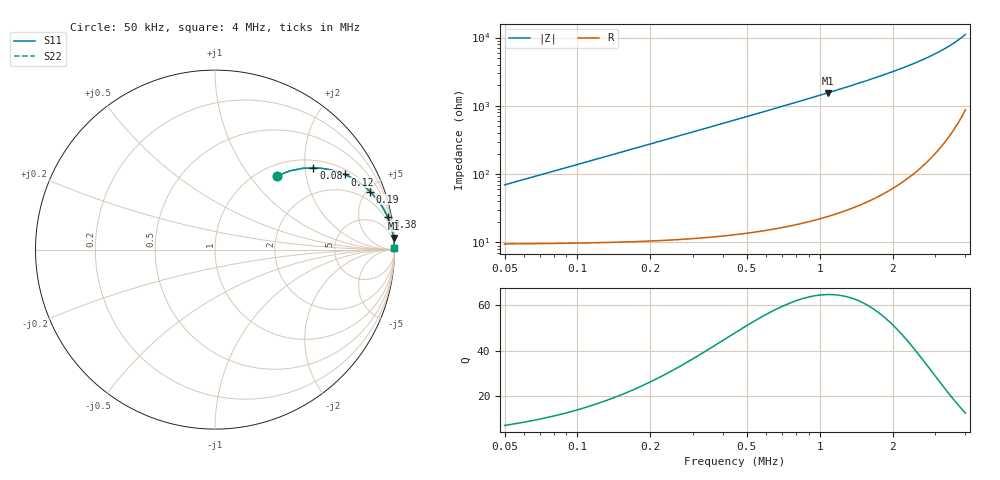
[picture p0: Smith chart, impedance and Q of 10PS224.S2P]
! Coilcraft 1008PS-224 Power Chip Inductor
! 7 October 2002
# MHZ S MA R 50
!Freq  MagS11  AngS11  MagS21  AngS21  MagS12  AngS12  MagS22  AngS22
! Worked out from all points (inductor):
!   396 points, 50 kHz to 4 MHz, reference 50 ohm
!   read as one part in series: L = 220 uH near 60 kHz
!   highest Q = 64.7 at 1.08 MHz (marker M1), where L = 228 uH
!   S11 on the Smith chart (normalised r, x): 50 kHz: 1.19, +1.38; 80 kHz: 1.19, +2.21; 120 kHz: 1.20, +3.32; 190 kHz: 1.21, +5.26; 380 kHz: 1, +11; 4 MHz: open
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0.05  0.5388 49.9  0.7722 -32.3  0.7722 -32.3  0.5388 49.9
0.06  0.6076 46.3  0.7277 -37.1  0.7277 -37.1  0.6076 46.3
0.08  0.7128 39.8  0.642 -45.2  0.642 -45.2  0.7128 39.8
0.1  0.7851 34.4  0.5664 -51.6  0.5664 -51.6  0.7851 34.4
0.12  0.8352 30.1  0.5024 -56.5  0.5024 -56.5  0.8352 30.1
0.15  0.8844 25.2  0.4257 -62.0  0.4257 -62.0  0.8844 25.2
0.19  0.9227 20.5  0.3507 -67.2  0.3507 -67.2  0.9227 20.5
0.23  0.9451 17.2  0.2966 -70.8  0.2966 -70.8  0.9451 17.2
0.27  0.959 14.8  0.2563 -73.5  0.2563 -73.5  0.959 14.8
0.32  0.9701 12.6  0.2185 -75.9  0.2185 -75.9  0.9701 12.6
0.38  0.9784 10.7  0.1854 -78.0  0.1854 -78.0  0.9784 10.7
0.45  0.9843 9.0  0.1572 -79.8  0.1572 -79.8  0.9843 9.0
0.53  0.9885 7.7  0.1337 -81.2  0.1337 -81.2  0.9885 7.7
0.71  0.9934 5.7  0.0996 -83.3  0.0996 -83.3  0.9934 5.7
0.88  0.9955 4.6  0.07984 -84.5  0.07984 -84.5  0.9955 4.6
1.08  0.9969 3.7  0.06432 -85.4  0.06432 -85.4  0.9969 3.7
1.37  0.998 2.8  0.04958 -86.2  0.04958 -86.2  0.998 2.8
1.67  0.9985 2.3  0.03946 -86.8  0.03946 -86.8  0.9985 2.3
2.03  0.9989 1.8  0.03098 -87.1  0.03098 -87.1  0.9989 1.8
2.69  0.9992 1.2  0.02075 -87.2  0.02075 -87.2  0.9992 1.2
3.35  0.9993 0.8  0.01397 -86.6  0.01397 -86.6  0.9993 0.8
4  0.9993 0.5  0.009001 -85.0  0.009001 -85.0  0.9993 0.5
